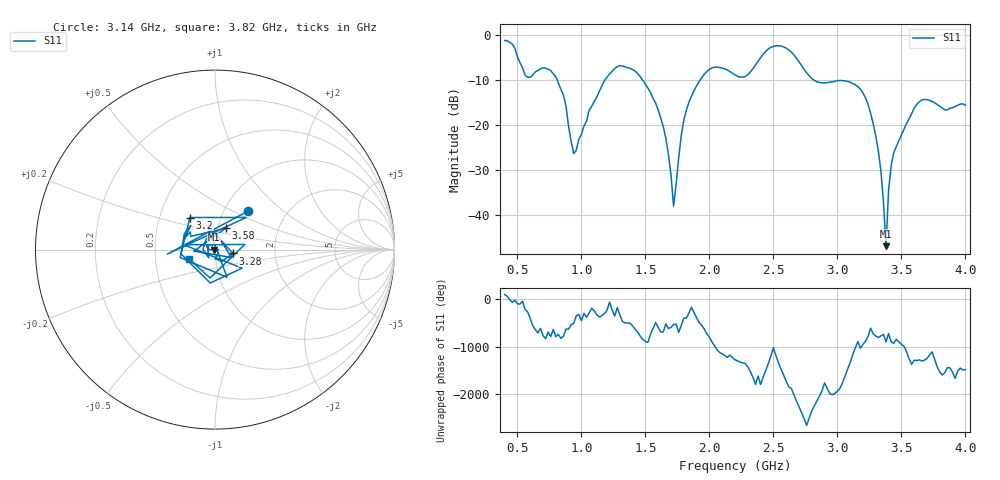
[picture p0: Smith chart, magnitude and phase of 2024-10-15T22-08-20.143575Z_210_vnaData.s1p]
! Created with skrf (http://scikit-rf.org).
# Hz S RI R 50.0
!freq ReS11 ImS11
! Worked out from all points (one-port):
!   181 points, 400 MHz to 4 GHz, reference 50 ohm
!   lowest |S11| = -46.9 dB at 3.38 GHz (marker M1), VSWR 1.01, Z = 49.6 + j0.0194 ohm
!   |S11| at or under -10 dB: 810.6 MHz to 1.184 GHz (373.6 MHz wide, 37.5 % of centre); 1.478 GHz to 1.928 GHz (449.3 MHz wide, 26.4 % of centre); 2.816 GHz to end of sweep
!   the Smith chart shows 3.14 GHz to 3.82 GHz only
!   S11 on the Smith chart (normalised r, x): 3.14 GHz: 1.29, +0.60; 3.2 GHz: 0.71, +0.27; 3.28 GHz: 1.22, -0.05; 3.58 GHz: 1.09, +0.26; 3.82 GHz: 0.74, -0.08
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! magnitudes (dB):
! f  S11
! 400 MHz  -1.2
! 560 MHz  -8.9
! 740 MHz  -7.6
! 860 MHz  -13.4
! 940 MHz  -26.4
! 1.3 GHz  -6.8
! 1.58 GHz  -15.2
! 1.66 GHz  -23.0
! 1.72 GHz  -38.0
! 1.76 GHz  -27.3
! 1.82 GHz  -16.7
! 1.94 GHz  -9.5
! 2.2 GHz  -8.8
! 2.5 GHz  -2.5
! 2.66 GHz  -4.4
! 2.84 GHz  -10.4
! 3.1 GHz  -10.5
! 3.14 GHz  -11.0
! 3.2 GHz  -12.9
! 3.28 GHz  -19.8
! 3.34 GHz  -30.2
! 3.38 GHz  -46.9
! 3.4 GHz  -34.4
! 3.42 GHz  -29.1
! 3.56 GHz  -18.6
! 3.58 GHz  -17.5
! 3.82 GHz  -16.2
! 4 GHz  -15.6
